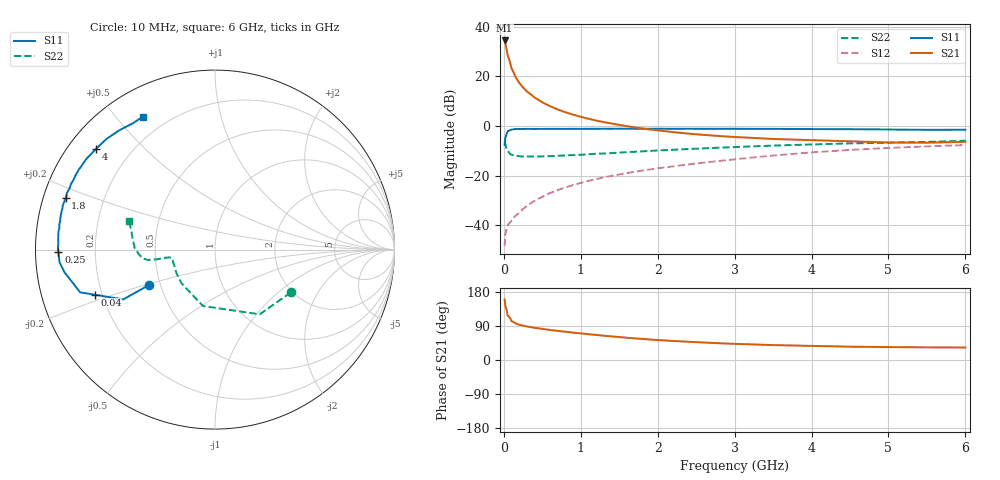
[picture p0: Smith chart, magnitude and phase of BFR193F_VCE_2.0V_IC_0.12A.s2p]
! (c) 2017  Infineon Technologies AG, Munich
! Infineon Technologies  Discrete & RF Semiconductors
! BFR193F
! VCE =  2.0 V,  IC = 0.12 A
! Common Emitter S-Parameters:  Jan 2017
# GHz  S  MA  R  50
!  f  S11  S21  S12  S22
! GHz  MAG  ANG  MAG  ANG  MAG  ANG  MAG  ANG
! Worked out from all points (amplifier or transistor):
!   77 points, 10 MHz to 6 GHz, reference 50 ohm
!   highest |S21| = 34.5 dB at 10 MHz (marker M1)
!   |S21| within 3 dB of that: start of sweep to 31.39 MHz
!   unconditionally stable (mu >= 1): start of sweep to 17.27 MHz; 180.7 MHz to end of sweep
!   at 130 MHz: K = 0.88, MSG = 29.1 dB, |S12| = -36.9 dB
!   at 2.2 GHz: K = 1.15, MAG = 4.6 dB, |S12| = -16.3 dB
!   at 6 GHz: K = 1.05, MAG = -0.7 dB, |S12| = -7.7 dB
!   S11 on the Smith chart (normalised r, x): 10 MHz: 0.43, -0.21; 40 MHz: 0.17, -0.18; 250 MHz: 0.07, -0.01; 1.8 GHz: 0.07, +0.17; 4 GHz: 0.08, +0.37; 6 GHz: 0.12, +0.59
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0.01  0.4149 -151.8  52.97 159.8  0.0038 65.8  0.4851 -29.5
0.02  0.5814 -151.5  45.47 142.7  0.0067 61.0  0.4381 -55.4
0.04  0.7166 -159.5  32.02 128.9  0.0088 49.0  0.332 -83.4
0.05  0.788 -162.4  26.51 117.1  0.01 45.0  0.3213 -102.0
0.1  0.8478 -171.4  14.5 102.6  0.0124 49.6  0.2649 -134.4
0.15  0.8688 -175.2  9.874 96.8  0.0156 55.3  0.2525 -147.8
0.2  0.8705 -177.3  7.427 93.0  0.0178 60.4  0.2464 -154.4
0.25  0.873 -179.0  5.955 90.5  0.0215 63.5  0.2432 -159.6
0.3  0.8753 179.8  4.98 88.4  0.0245 66.9  0.2438 -162.1
0.4  0.874 177.8  3.738 84.8  0.0311 70.4  0.2428 -165.8
0.5  0.8755 176.1  3.005 82.0  0.0375 72.5  0.2444 -167.7
0.6  0.8765 174.7  2.515 79.3  0.0446 74.5  0.2475 -169.1
0.7  0.8781 173.1  2.162 76.8  0.0512 75.1  0.2513 -169.5
0.9  0.8787 170.5  1.697 72.3  0.0646 76.0  0.2598 -170.5
1.1  0.8795 168.3  1.402 68.1  0.0786 76.7  0.2704 -170.4
1.8  0.8804 161.0  0.894 55.6  0.1266 75.6  0.3093 -170.6
2.1  0.8811 158.2  0.786 51.5  0.1472 75.1  0.3272 -170.5
3.1  0.8789 148.9  0.591 42.0  0.2211 71.3  0.3823 -171.5
4  0.8685 139.6  0.519 37.2  0.294 65.6  0.4254 -176.5
4.1  0.8669 138.6  0.514 36.8  0.3011 64.7  0.4296 -177.5
5.1  0.8489 127.6  0.465 34.0  0.3664 56.4  0.4652 171.6
6  0.8426 118.6  0.48 32.9  0.414 49.7  0.5055 161.6
